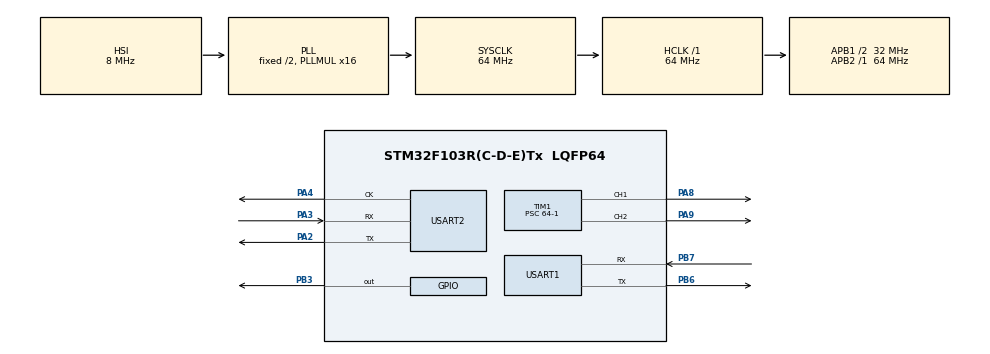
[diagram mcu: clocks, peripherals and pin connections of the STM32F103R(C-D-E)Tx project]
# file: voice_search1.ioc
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Dma.Request0=USART1_RX
Dma.USART1_RX.0.Direction=DMA_PERIPH_TO_MEMORY
Dma.USART1_RX.0.Instance=DMA1_Channel5
Dma.USART1_RX.0.MemDataAlignment=DMA_MDATAALIGN_BYTE
Dma.USART1_RX.0.MemInc=DMA_MINC_ENABLE
Dma.USART1_RX.0.Mode=DMA_NORMAL
Dma.USART1_RX.0.PeriphDataAlignment=DMA_PDATAALIGN_BYTE
Dma.USART1_RX.0.PeriphInc=DMA_PINC_DISABLE
Dma.USART1_RX.0.Priority=DMA_PRIORITY_LOW
Mcu.Family=STM32F1
Mcu.Name=STM32F103R(C-D-E)Tx
Mcu.Package=LQFP64
NVIC.DMA1_Channel5_IRQn=true\:0\:0\:false\:false\:true\:false\:true
NVIC.PriorityGroup=NVIC_PRIORITYGROUP_4
NVIC.TIM1_BRK_IRQn=true\:0\:0\:false\:false\:true\:true\:true
NVIC.USART1_IRQn=true\:0\:0\:false\:false\:true\:true\:true
NVIC.USART2_IRQn=true\:0\:0\:false\:false\:true\:true\:true
PA13.Mode=Serial_Wire
PA13.Signal=SYS_JTMS-SWDIO
PA14.Mode=Serial_Wire
PA14.Signal=SYS_JTCK-SWCLK
PA2.Mode=Synchronous
PA2.Signal=USART2_TX
PA3.Mode=Synchronous
PA3.Signal=USART2_RX
PA4.Mode=Synchronous
PA4.Signal=USART2_CK
PA8.Signal=S_TIM1_CH1
PA9.Signal=S_TIM1_CH2
PB3.Signal=GPIO_Output
PB6.Mode=Asynchronous
PB6.Signal=USART1_TX
PB7.Mode=Asynchronous
PB7.Signal=USART1_RX
PC14-OSC32_IN.Mode=LSE-External-Oscillator
PC14-OSC32_IN.Signal=RCC_OSC32_IN
PC15-OSC32_OUT.Mode=LSE-External-Oscillator
PC15-OSC32_OUT.Signal=RCC_OSC32_OUT
PD0-OSC_IN.Mode=HSE-External-Oscillator
PD0-OSC_IN.Signal=RCC_OSC_IN
PD1-OSC_OUT.Mode=HSE-External-Oscillator
PD1-OSC_OUT.Signal=RCC_OSC_OUT
ProjectManager.HeapSize=0x200
ProjectManager.StackSize=0x400
ProjectManager.TargetToolchain=MDK-ARM V5.32
RCC.AHBFreq_Value=64000000
RCC.APB1CLKDivider=RCC_HCLK_DIV2
RCC.APB1Freq_Value=32000000
RCC.APB1TimFreq_Value=64000000
RCC.APB2Freq_Value=64000000
RCC.APB2TimFreq_Value=64000000
RCC.HCLKFreq_Value=64000000
RCC.PLLMUL=RCC_PLL_MUL16
RCC.SYSCLKFreq_VALUE=64000000
RCC.SYSCLKSource=RCC_SYSCLKSOURCE_PLLCLK
RCC.USBFreq_Value=64000000
SH.S_TIM1_CH1.0=TIM1_CH1,PWM Generation1 CH1
SH.S_TIM1_CH2.0=TIM1_CH2,PWM Generation2 CH2
TIM1.AutoReloadPreload=TIM_AUTORELOAD_PRELOAD_ENABLE
TIM1.Channel-PWM\ Generation1\ CH1=TIM_CHANNEL_1
TIM1.Channel-PWM\ Generation2\ CH2=TIM_CHANNEL_2
TIM1.Period=20000
TIM1.Prescaler=64-1
TIM1.Pulse-PWM\ Generation1\ CH1=1500
TIM1.Pulse-PWM\ Generation2\ CH2=1500
USART1.VirtualMode=VM_ASYNC
USART2.VirtualMode=VM_SYNC
VP_TIM1_VS_ClockSourceINT.Mode=Internal
board=custom

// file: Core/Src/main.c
/* USER CODE BEGIN Header */
/**
  ******************************************************************************
  * @file           : main.c
  * @brief          : Main program body
  ******************************************************************************
  * @attention
  *
  * <h2><center>&copy; Copyright (c) 2022 STMicroelectronics.
  * All rights reserved.</center></h2>
  *
  * This software component is licensed by ST under BSD 3-Clause license,
  * the "License"; You may not use this file except in compliance with the
  * License. You may obtain a copy of the License at:
  *                        opensource.org/licenses/BSD-3-Clause
  *
  ******************************************************************************
  */
/* USER CODE END Header */
#include "main.h"
#include "dma.h"
#include "tim.h"
#include "usart.h"
#include "gpio.h"

/* USER CODE BEGIN Includes */
#include "stdio.h"
/* USER CODE END Includes */

/* USER CODE BEGIN PD */
	int positionx=0;
	int positiony=0;
/* USER CODE END PD */

void SystemClock_Config(void);

/* USER CODE BEGIN 0 */
extern uint8_t usart1_RxBuffer[20];
extern int usart1_RxBufferLen;
extern int receive_x;
extern int receive_y;

uint8_t tmp = 0;
int fputc(int ch, FILE *f){
uint8_t temp[1] = {ch};
HAL_UART_Transmit(&huart1, temp, 1, 2);//huart1?要根据你的配置修?
return ch;
}
/* USER CODE END 0 */

int main(void)
{

  /* MCU Configuration--------------------------------------------------------*/

  /* Reset of all peripherals, Initializes the Flash interface and the Systick. */
  HAL_Init();

  /* Configure the system clock */
  SystemClock_Config();

  /* Initialize all configured peripherals */
  MX_GPIO_Init();
  MX_TIM1_Init();
  MX_USART1_UART_Init();
  MX_DMA_Init();
  MX_USART2_Init();
  /* USER CODE BEGIN 2 */
	//__HAL_UART_ENABLE_IT(&huart1,UART_IT_IDLE);
  //HAL_UART_Receive_IT(&huart1,&tmp,1);
	//HAL_UART_Receive_IT(&huart1,,1);
	HAL_TIM_PWM_Start(&htim1,TIM_CHANNEL_1);
	HAL_TIM_PWM_Start(&htim1,TIM_CHANNEL_2);
  send_H_angle(70);
  send_L_angle(90);
	printf("ready\r\n");
	int x=130,y=270;
	printf("anglea:%f\r\n",trans_anglea(x,y));
	printf("angleb:%f\r\n",trans_angleb(x,y));

			//HAL_UART_Receive_IT(&huart1, &tmp, 1);
  /* USER CODE END 2 */

  /* Infinite loop */
  /* USER CODE BEGIN WHILE */
  while (1)
  {
		send_H_angle((int)trans_angleb(receive_x,receive_y));
		send_L_angle((int)trans_anglea(receive_x,receive_y)+90);
		printf("%d: %s\r\n", usart1_RxBufferLen, usart1_RxBuffer);
  printf("receive_x:%d\r\n",receive_x);
  printf("receive_y:%d\r\n",receive_y);
		//a++;
		//__HAL_TIM_SET_COMPARE(&htim1, TIM_CHANNEL_1, 500+error_fix);
		//__HAL_TIM_SET_COMPARE(&htim1, TIM_CHANNEL_2, 1500+error_fix);
  HAL_Delay(500);
    /* USER CODE END WHILE */

  }
}

void SystemClock_Config(void)
{
  RCC_OscInitTypeDef RCC_OscInitStruct = {0};
  RCC_ClkInitTypeDef RCC_ClkInitStruct = {0};

  /** Initializes the RCC Oscillators according to the specified parameters
  * in the RCC_OscInitTypeDef structure.
  */
  RCC_OscInitStruct.OscillatorType = RCC_OSCILLATORTYPE_HSI;
  RCC_OscInitStruct.HSIState = RCC_HSI_ON;
  RCC_OscInitStruct.HSICalibrationValue = RCC_HSICALIBRATION_DEFAULT;
  RCC_OscInitStruct.PLL.PLLState = RCC_PLL_ON;
  RCC_OscInitStruct.PLL.PLLSource = RCC_PLLSOURCE_HSI_DIV2;
  RCC_OscInitStruct.PLL.PLLMUL = RCC_PLL_MUL16;
  if (HAL_RCC_OscConfig(&RCC_OscInitStruct) != HAL_OK)
  {
    Error_Handler();
  }
  /** Initializes the CPU, AHB and APB buses clocks
  */
  RCC_ClkInitStruct.ClockType = RCC_CLOCKTYPE_HCLK|RCC_CLOCKTYPE_SYSCLK
                              |RCC_CLOCKTYPE_PCLK1|RCC_CLOCKTYPE_PCLK2;
  RCC_ClkInitStruct.SYSCLKSource = RCC_SYSCLKSOURCE_PLLCLK;
  RCC_ClkInitStruct.AHBCLKDivider = RCC_SYSCLK_DIV1;
  RCC_ClkInitStruct.APB1CLKDivider = RCC_HCLK_DIV2;
  RCC_ClkInitStruct.APB2CLKDivider = RCC_HCLK_DIV1;

  if (HAL_RCC_ClockConfig(&RCC_ClkInitStruct, FLASH_LATENCY_2) != HAL_OK)
  {
    Error_Handler();
  }
}

void Error_Handler(void)
{
  __disable_irq();
  while (1)
  {
  }
}

/************************ (C) COPYRIGHT STMicroelectronics *****END OF FILE****/
